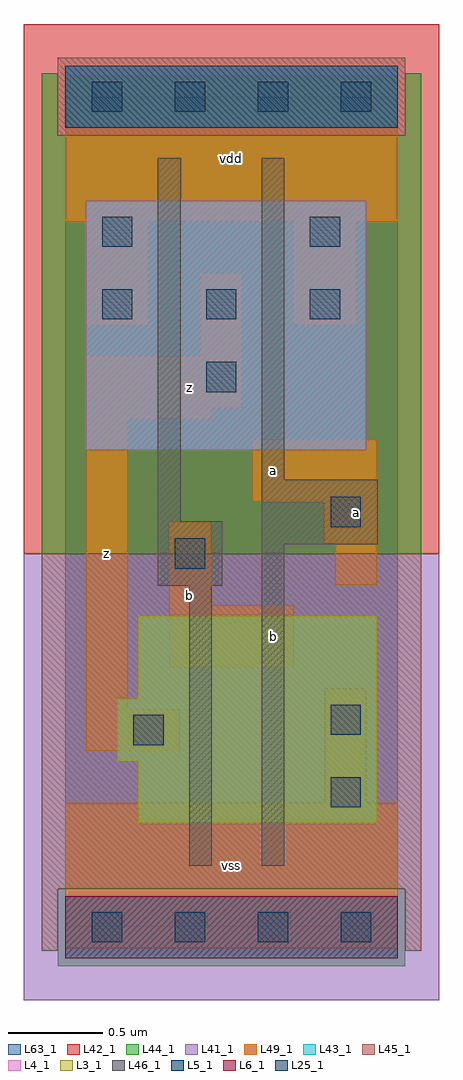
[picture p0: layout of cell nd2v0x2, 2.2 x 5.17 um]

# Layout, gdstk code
import gdstk
lib = gdstk.Library(unit=1e-6, precision=1e-09)
def R(c, l, rs):  # rectangles x0, y0, x1, y1
    for r in rs: c.add(gdstk.rectangle(r[:2], r[2:], *l))
def A(c, l, x, y, w, h, nx, ny, dx, dy):  # array of equal rectangles
    R(c, l, [(x+i*dx, y+j*dy, x+i*dx+w, y+j*dy+h) for i in range(nx) for j in range(ny)])
L3_1 = (3, 1)
L4_1 = (4, 1)
L5_1 = (5, 1)
L6_1 = (6, 1)
L25_1 = (25, 1)
L41_1 = (41, 1)
L42_1 = (42, 1)
L43_1 = (43, 1)
L44_1 = (44, 1)
L45_1 = (45, 1)
L46_1 = (46, 1)
L49_1 = (49, 1)
L63_1 = (63, 1)

nd2v0x2 = lib.new_cell('nd2v0x2')
R(nd2v0x2, L3_1, [(0.385,0.55,1.65,0.88), (0.275,0.88,1.65,1.21), (0.385,1.21,1.65,1.65)])
R(nd2v0x2, L4_1, [(0.11,2.53,1.595,3.85)])
R(nd2v0x2, L5_1, [(0,4.235,1.76,4.565)])
R(nd2v0x2, L6_1, [(0,-0.165,1.76,0.165)])
A(nd2v0x2, L25_1, 0.14, -0.08, 0.16, 0.16, 4, 2, 0.44, 4.4)
A(nd2v0x2, L25_1, 0.195, 3.22, 0.16, 0.16, 3, 1, 0.55, 0)
R(nd2v0x2, L25_1, [(1.405,0.635,1.565,0.795), (0.36,0.965,0.52,1.125), (1.405,1.02,1.565,1.18), (0.58,1.9,0.74,2.06), (1.405,2.12,1.565,2.28), (0.745,2.835,0.905,2.995), (0.195,3.605,0.355,3.765), (1.295,3.605,1.455,3.765)])
R(nd2v0x2, L41_1, [(-0.22,-0.385,1.98,1.98)])
R(nd2v0x2, L42_1, [(-0.22,1.98,1.98,4.785)])
R(nd2v0x2, L43_1, [(0,-0.165,1.76,0.165), (0.385,0.55,1.65,0.88), (0.275,0.88,1.65,1.21), (0.385,1.21,1.65,1.65), (0.11,2.53,1.595,3.85), (0,4.235,1.76,4.565)])
R(nd2v0x2, L44_1, [(-0.04,-0.205,1.8,0.205), (-0.125,1.98,1.885,4.195), (-0.125,4.195,-0.04,4.525), (1.8,4.195,1.885,4.525)])
R(nd2v0x2, L45_1, [(-0.125,-0.125,-0.04,0.205), (1.8,-0.125,1.885,0.205), (-0.125,0.205,1.885,1.98), (-0.04,4.195,1.8,4.605)])
R(nd2v0x2, L46_1, [(0.655,0.325,0.775,1.81), (1.04,0.325,1.16,2.03), (0.49,1.81,0.83,2.15), (1.04,2.03,1.655,2.37), (0.49,2.15,0.61,4.075), (1.04,2.37,1.16,4.075)])
R(nd2v0x2, L49_1, [(0,-0.11,1.76,0.66), (1.375,0.66,1.595,1.265), (0.11,0.935,0.605,1.155), (0.11,1.155,0.33,2.695), (0.55,1.375,1.21,1.705), (0.55,1.705,0.77,2.145), (1.43,1.815,1.65,2.035), (1.375,2.035,1.65,2.255), (0.99,2.255,1.65,2.585), (0.11,2.695,0.77,2.75), (0.11,2.75,0.935,3.025), (0.715,3.025,0.935,3.465), (0.11,3.19,0.44,3.74), (1.21,3.19,1.54,3.74), (0,3.74,1.76,4.51)])
R(nd2v0x2, L63_1, [(0,0,1.76,4.4)])
nd2v0x2.add(gdstk.Label('z', (0.22,1.98), layer=49, texttype=1))
nd2v0x2.add(gdstk.Label('b', (0.66,1.76), layer=49, texttype=1))
nd2v0x2.add(gdstk.Label('z', (0.66,2.86), layer=49, texttype=1))
nd2v0x2.add(gdstk.Label('vss', (0.88,0.33), layer=49, texttype=1))
nd2v0x2.add(gdstk.Label('b', (1.1,1.54), layer=49, texttype=1))
nd2v0x2.add(gdstk.Label('a', (1.1,2.42), layer=49, texttype=1))
nd2v0x2.add(gdstk.Label('vdd', (0.88,4.07), layer=49, texttype=1))
nd2v0x2.add(gdstk.Label('a', (1.54,2.2), layer=49, texttype=1))

lib.write_gds('nd2v0x2.gds')
